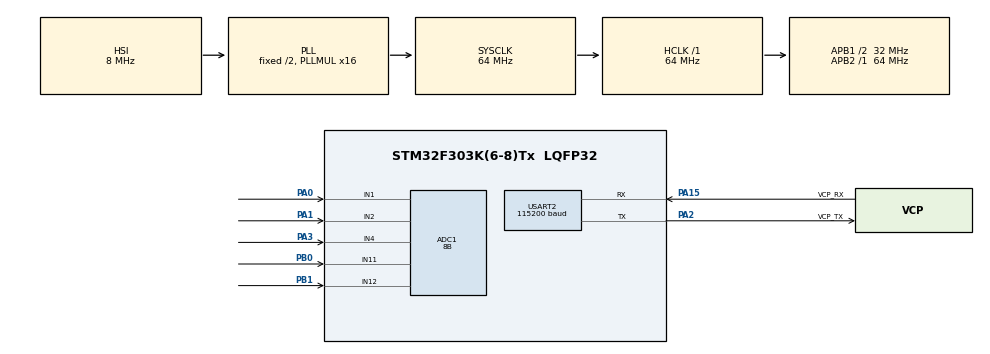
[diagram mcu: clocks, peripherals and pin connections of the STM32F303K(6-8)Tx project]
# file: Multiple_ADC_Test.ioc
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ADC1.Channel-0\#ChannelRegularConversion=ADC_CHANNEL_1
ADC1.Channel-1\#ChannelRegularConversion=ADC_CHANNEL_2
ADC1.Channel-2\#ChannelRegularConversion=ADC_CHANNEL_4
ADC1.Channel-6\#ChannelRegularConversion=ADC_CHANNEL_11
ADC1.Channel-7\#ChannelRegularConversion=ADC_CHANNEL_12
ADC1.ClockPrescaler=ADC_CLOCK_SYNC_PCLK_DIV4
ADC1.ContinuousConvMode=ENABLE
ADC1.DMAContinuousRequests=ENABLE
ADC1.NbrOfConversion=5
ADC1.NbrOfConversionFlag=1
ADC1.Offset-0\#ChannelRegularConversion=0
ADC1.Offset-1\#ChannelRegularConversion=0
ADC1.Offset-2\#ChannelRegularConversion=0
ADC1.Offset-6\#ChannelRegularConversion=0
ADC1.Offset-7\#ChannelRegularConversion=0
ADC1.OffsetNumber-0\#ChannelRegularConversion=ADC_OFFSET_NONE
ADC1.OffsetNumber-1\#ChannelRegularConversion=ADC_OFFSET_NONE
ADC1.OffsetNumber-2\#ChannelRegularConversion=ADC_OFFSET_NONE
ADC1.OffsetNumber-6\#ChannelRegularConversion=ADC_OFFSET_NONE
ADC1.OffsetNumber-7\#ChannelRegularConversion=ADC_OFFSET_NONE
ADC1.Overrun=ADC_OVR_DATA_OVERWRITTEN
ADC1.Rank-0\#ChannelRegularConversion=1
ADC1.Rank-1\#ChannelRegularConversion=2
ADC1.Rank-2\#ChannelRegularConversion=3
ADC1.Rank-6\#ChannelRegularConversion=4
ADC1.Rank-7\#ChannelRegularConversion=5
ADC1.Resolution=ADC_RESOLUTION_8B
ADC1.SamplingTime-0\#ChannelRegularConversion=ADC_SAMPLETIME_19CYCLES_5
ADC1.SamplingTime-1\#ChannelRegularConversion=ADC_SAMPLETIME_19CYCLES_5
ADC1.SamplingTime-2\#ChannelRegularConversion=ADC_SAMPLETIME_19CYCLES_5
ADC1.SamplingTime-6\#ChannelRegularConversion=ADC_SAMPLETIME_19CYCLES_5
ADC1.SamplingTime-7\#ChannelRegularConversion=ADC_SAMPLETIME_19CYCLES_5
ADC1.master=1
Dma.ADC1.0.Direction=DMA_PERIPH_TO_MEMORY
Dma.ADC1.0.Instance=DMA1_Channel1
Dma.ADC1.0.MemDataAlignment=DMA_MDATAALIGN_WORD
Dma.ADC1.0.MemInc=DMA_MINC_ENABLE
Dma.ADC1.0.Mode=DMA_CIRCULAR
Dma.ADC1.0.PeriphDataAlignment=DMA_PDATAALIGN_BYTE
Dma.ADC1.0.PeriphInc=DMA_PINC_DISABLE
Dma.ADC1.0.Priority=DMA_PRIORITY_LOW
Dma.Request0=ADC1
Mcu.Family=STM32F3
Mcu.Name=STM32F303K(6-8)Tx
Mcu.Package=LQFP32
NVIC.DMA1_Channel1_IRQn=true\:0\:0\:false\:false\:true\:false\:true
NVIC.PriorityGroup=NVIC_PRIORITYGROUP_4
PA0.Mode=IN1-Single-Ended
PA0.Signal=ADC1_IN1
PA1.Mode=IN2-Single-Ended
PA1.Signal=ADC1_IN2
PA15.GPIO_Label=VCP_RX
PA15.Mode=Asynchronous
PA15.Signal=USART2_RX
PA2.GPIO_Label=VCP_TX
PA2.Mode=Asynchronous
PA2.Signal=USART2_TX
PA3.Mode=IN4-Single-Ended
PA3.Signal=ADC1_IN4
PB0.Mode=IN11-Single-Ended
PB0.Signal=ADC1_IN11
PB1.Mode=IN12-Single-Ended
PB1.Signal=ADC1_IN12
PF0\ /\ OSC_IN.GPIO_Label=MCO
PF0\ /\ OSC_IN.Mode=HSE-External-Clock-Source
PF0\ /\ OSC_IN.Signal=RCC_OSC_IN
ProjectManager.HeapSize=0x200
ProjectManager.StackSize=0x400
ProjectManager.TargetToolchain=SW4STM32
RCC.AHBFreq_Value=64000000
RCC.APB1CLKDivider=RCC_HCLK_DIV2
RCC.APB1Freq_Value=32000000
RCC.APB1TimFreq_Value=64000000
RCC.APB2Freq_Value=64000000
RCC.APB2TimFreq_Value=64000000
RCC.CortexFreq_Value=64000000
RCC.HCLKFreq_Value=64000000
RCC.HSE_VALUE=8000000
RCC.HSI_VALUE=8000000
RCC.PLLMUL=RCC_PLL_MUL16
RCC.SYSCLKFreq_VALUE=64000000
RCC.SYSCLKSourceVirtual=RCC_SYSCLKSOURCE_PLLCLK
USART2.BaudRate=115200
USART2.VirtualMode-Asynchronous=VM_ASYNC
board=NUCLEO-F303K8

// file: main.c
/* USER CODE BEGIN Header */
/**
 ******************************************************************************
 * @file           : main.c
 * @brief          : Main program body
 ******************************************************************************
 * @attention
 *
 * <h2><center>&copy; Copyright (c) 2020 STMicroelectronics.
 * All rights reserved.</center></h2>
 *
 * This software component is licensed by ST under BSD 3-Clause license,
 * the "License"; You may not use this file except in compliance with the
 * License. You may obtain a copy of the License at:
 *                        opensource.org/licenses/BSD-3-Clause
 *
 ******************************************************************************
 */
/* USER CODE END Header */

#include "main.h"

ADC_HandleTypeDef hadc1;
DMA_HandleTypeDef hdma_adc1;

UART_HandleTypeDef huart2;

void SystemClock_Config(void);
static void MX_GPIO_Init(void);
static void MX_ADC1_Init(void);
static void MX_USART2_UART_Init(void);
static void MX_DMA_Init(void);

/* USER CODE BEGIN 0 */
#ifdef __GNUC__
#define PUTCHAR_PROTOTYPE int __io_putchar(int ch)
#else
#define PUTCHAR_PROTOTYPE int fputc(int ch, FILE *f)
#endif /* __GNUC__ */
void __io_putchar(uint8_t ch) {
	HAL_UART_Transmit(&huart2, &ch, 1, 1);
}

#define BUF_SIZE1 5

static uint32_t ADC_Data1[BUF_SIZE1];

void Print_ADC_Values(uint32_t *Buf, int Size, char *BufName) {
	printf("%s ", BufName);
	for (int i = 0; i < Size; i++)
		printf("ch%d : %d\t", i + 1, Buf[i]);
	printf("\n\r");
}

void HAL_ADC_ConvCpltCallback(ADC_HandleTypeDef* hadc) {
	Print_ADC_Values(ADC_Data1, BUF_SIZE1, "ADC1");
}

//static uint16_t ADC_Data[BUF_SIZE];
/* USER CODE END 0 */

int main(void) {

	/* MCU Configuration--------------------------------------------------------*/

	/* Reset of all peripherals, Initializes the Flash interface and the Systick. */
	HAL_Init();

	/* Configure the system clock */
	SystemClock_Config();

	/* Initialize all configured peripherals */
	MX_GPIO_Init();
	MX_DMA_Init();
	MX_ADC1_Init();
	MX_USART2_UART_Init();
	/* USER CODE BEGIN 2 */
	printf("Program Run\n\r");
	HAL_ADCEx_Calibration_Start(&hadc1, ADC_SINGLE_ENDED);

	if (HAL_ADC_Start_DMA(&hadc1, (uint32_t *) ADC_Data1, sizeof(ADC_Data1))
			== HAL_OK)
		printf("Start ADC Successfully\n\r");
	else
		printf("Start ADC failed\n\r");

	/* USER CODE END 2 */

	/* Infinite loop */
	while (1) {

	}
}

void SystemClock_Config(void) {
	RCC_OscInitTypeDef RCC_OscInitStruct = { 0 };
	RCC_ClkInitTypeDef RCC_ClkInitStruct = { 0 };

	/** Initializes the CPU, AHB and APB busses clocks
	 */
	RCC_OscInitStruct.OscillatorType = RCC_OSCILLATORTYPE_HSI;
	RCC_OscInitStruct.HSIState = RCC_HSI_ON;
	RCC_OscInitStruct.HSICalibrationValue = RCC_HSICALIBRATION_DEFAULT;
	RCC_OscInitStruct.PLL.PLLState = RCC_PLL_ON;
	RCC_OscInitStruct.PLL.PLLSource = RCC_PLLSOURCE_HSI;
	RCC_OscInitStruct.PLL.PLLMUL = RCC_PLL_MUL16;
	if (HAL_RCC_OscConfig(&RCC_OscInitStruct) != HAL_OK) {
		Error_Handler();
	}
	/** Initializes the CPU, AHB and APB busses clocks
	 */
	RCC_ClkInitStruct.ClockType = RCC_CLOCKTYPE_HCLK | RCC_CLOCKTYPE_SYSCLK
			| RCC_CLOCKTYPE_PCLK1 | RCC_CLOCKTYPE_PCLK2;
	RCC_ClkInitStruct.SYSCLKSource = RCC_SYSCLKSOURCE_PLLCLK;
	RCC_ClkInitStruct.AHBCLKDivider = RCC_SYSCLK_DIV1;
	RCC_ClkInitStruct.APB1CLKDivider = RCC_HCLK_DIV2;
	RCC_ClkInitStruct.APB2CLKDivider = RCC_HCLK_DIV1;

	if (HAL_RCC_ClockConfig(&RCC_ClkInitStruct, FLASH_LATENCY_2) != HAL_OK) {
		Error_Handler();
	}
}

static void MX_ADC1_Init(void) {

	ADC_MultiModeTypeDef multimode = { 0 };
	ADC_ChannelConfTypeDef sConfig = { 0 };

	/** Common config
	 */
	hadc1.Instance = ADC1;
	hadc1.Init.ClockPrescaler = ADC_CLOCK_SYNC_PCLK_DIV4;
	hadc1.Init.Resolution = ADC_RESOLUTION_8B;
	hadc1.Init.ScanConvMode = ADC_SCAN_ENABLE;
	hadc1.Init.ContinuousConvMode = ENABLE;
	hadc1.Init.DiscontinuousConvMode = DISABLE;
	hadc1.Init.ExternalTrigConvEdge = ADC_EXTERNALTRIGCONVEDGE_NONE;
	hadc1.Init.ExternalTrigConv = ADC_SOFTWARE_START;
	hadc1.Init.DataAlign = ADC_DATAALIGN_RIGHT;
	hadc1.Init.NbrOfConversion = 5;
	hadc1.Init.DMAContinuousRequests = ENABLE;
	hadc1.Init.EOCSelection = ADC_EOC_SINGLE_CONV;
	hadc1.Init.LowPowerAutoWait = DISABLE;
	hadc1.Init.Overrun = ADC_OVR_DATA_OVERWRITTEN;
	if (HAL_ADC_Init(&hadc1) != HAL_OK) {
		Error_Handler();
	}
	/** Configure the ADC multi-mode
	 */
	multimode.Mode = ADC_MODE_INDEPENDENT;
	if (HAL_ADCEx_MultiModeConfigChannel(&hadc1, &multimode) != HAL_OK) {
		Error_Handler();
	}
	/** Configure Regular Channel
	 */
	sConfig.Channel = ADC_CHANNEL_1;
	sConfig.Rank = ADC_REGULAR_RANK_1;
	sConfig.SingleDiff = ADC_SINGLE_ENDED;
	sConfig.SamplingTime = ADC_SAMPLETIME_19CYCLES_5;
	sConfig.OffsetNumber = ADC_OFFSET_NONE;
	sConfig.Offset = 0;
	if (HAL_ADC_ConfigChannel(&hadc1, &sConfig) != HAL_OK) {
		Error_Handler();
	}
	/** Configure Regular Channel
	 */
	sConfig.Channel = ADC_CHANNEL_2;
	sConfig.Rank = ADC_REGULAR_RANK_2;
	if (HAL_ADC_ConfigChannel(&hadc1, &sConfig) != HAL_OK) {
		Error_Handler();
	}
	/** Configure Regular Channel
	 */
	sConfig.Channel = ADC_CHANNEL_4;
	sConfig.Rank = ADC_REGULAR_RANK_3;
	if (HAL_ADC_ConfigChannel(&hadc1, &sConfig) != HAL_OK) {
		Error_Handler();
	}
	/** Configure Regular Channel
	 */
	sConfig.Channel = ADC_CHANNEL_11;
	sConfig.Rank = ADC_REGULAR_RANK_4;
	if (HAL_ADC_ConfigChannel(&hadc1, &sConfig) != HAL_OK) {
		Error_Handler();
	}
	/** Configure Regular Channel
	 */
	sConfig.Channel = ADC_CHANNEL_12;
	sConfig.Rank = ADC_REGULAR_RANK_5;
	if (HAL_ADC_ConfigChannel(&hadc1, &sConfig) != HAL_OK) {
		Error_Handler();
	}
	/* USER CODE BEGIN ADC1_Init 2 */
	printf("Finish ADC1 Init Successfully\n\r");
	/* USER CODE END ADC1_Init 2 */

}

static void MX_USART2_UART_Init(void) {

	huart2.Instance = USART2;
	huart2.Init.BaudRate = 115200;
	huart2.Init.WordLength = UART_WORDLENGTH_8B;
	huart2.Init.StopBits = UART_STOPBITS_1;
	huart2.Init.Parity = UART_PARITY_NONE;
	huart2.Init.Mode = UART_MODE_TX_RX;
	huart2.Init.HwFlowCtl = UART_HWCONTROL_NONE;
	huart2.Init.OverSampling = UART_OVERSAMPLING_16;
	huart2.Init.OneBitSampling = UART_ONE_BIT_SAMPLE_DISABLE;
	huart2.AdvancedInit.AdvFeatureInit = UART_ADVFEATURE_NO_INIT;
	if (HAL_UART_Init(&huart2) != HAL_OK) {
		Error_Handler();
	}

}

static void MX_DMA_Init(void) {

	/* DMA controller clock enable */
	__HAL_RCC_DMA1_CLK_ENABLE()
	;

	/* DMA interrupt init */
	/* DMA1_Channel1_IRQn interrupt configuration */
	HAL_NVIC_SetPriority(DMA1_Channel1_IRQn, 0, 0);
	HAL_NVIC_EnableIRQ(DMA1_Channel1_IRQn);

}

static void MX_GPIO_Init(void) {

	/* GPIO Ports Clock Enable */
	__HAL_RCC_GPIOF_CLK_ENABLE()
	;
	__HAL_RCC_GPIOA_CLK_ENABLE()
	;
	__HAL_RCC_GPIOB_CLK_ENABLE()
	;

}

void Error_Handler(void) {
}

/************************ (C) COPYRIGHT STMicroelectronics *****END OF FILE****/
